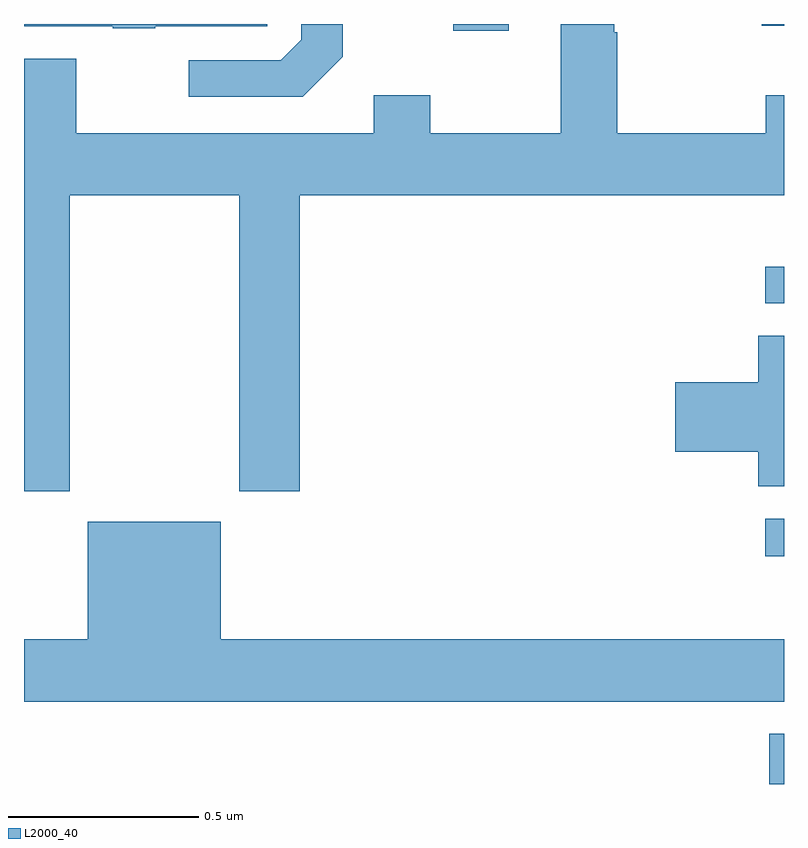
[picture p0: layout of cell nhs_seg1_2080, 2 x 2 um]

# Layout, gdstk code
import gdstk
lib = gdstk.Library(unit=1e-6, precision=1e-09)
def R(c, l, rs):  # rectangles x0, y0, x1, y1
    for r in rs: c.add(gdstk.rectangle(r[:2], r[2:], *l))
def P(c, l, *ps):  # polygons
    for p in ps: c.add(gdstk.Polygon(p, *l))
L2000_40 = (2000, 40)

nhs_seg1_2080 = lib.new_cell('nhs_seg1_2080')
R(nhs_seg1_2080, L2000_40, [(138.961,534.199,139,534.331), (138.951,534.799,139,534.897), (138.951,535.464,139,535.56), (138.129,536.181,138.276,536.199), (138.941,536.195,139,536.199)])
P(nhs_seg1_2080, L2000_40, [(137.839,536.113),(137.839,536.199),(137.73,536.199),(137.73,536.157),(137.676,536.103),(137.433,536.103),(137.433,536.007),(137.733,536.007)],
  [(137.345,536.193),(137.64,536.193),(137.64,536.199),(137,536.199),(137,536.193),(137.233,536.193),(137.233,536.188),(137.345,536.188)],
  [(137.121,535.748),(137.566,535.748),(137.566,534.969),(137.726,534.969),(137.726,535.748),(139,535.748),(139,536.011),(138.952,536.011),(138.952,535.912),(138.561,535.912),(138.561,536.177),(138.553,536.177),(138.553,536.199),(138.413,536.199),(138.413,535.912),(138.069,535.912),(138.069,536.011),(137.921,536.011),(137.921,535.912),(137.137,535.912),(137.137,536.107),(137,536.107),(137,534.969),(137.121,534.969)],
  [(139,535.379),(138.932,535.379),(138.932,535.256),(138.714,535.256),(138.714,535.073),(138.932,535.073),(138.932,534.982),(139,534.982)],
  [(139,534.58),(137.518,534.58),(137.518,534.889),(137.168,534.889),(137.168,534.58),(137,534.58),(137,534.416),(139,534.416)])

lib.write_gds('nhs_seg1_2080.gds')
